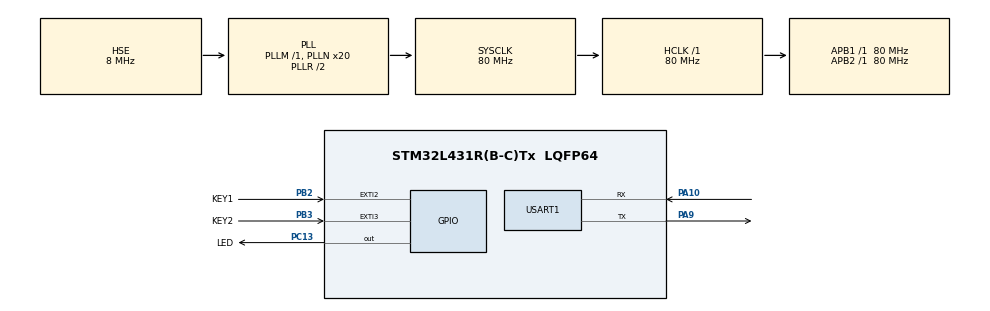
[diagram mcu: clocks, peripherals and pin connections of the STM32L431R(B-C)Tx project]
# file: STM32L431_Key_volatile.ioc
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Mcu.Family=STM32L4
Mcu.Name=STM32L431R(B-C)Tx
Mcu.Package=LQFP64
NVIC.EXTI2_IRQn=true\:1\:0\:true\:false\:true\:true\:true
NVIC.EXTI3_IRQn=true\:2\:0\:true\:false\:true\:true\:true
NVIC.PriorityGroup=NVIC_PRIORITYGROUP_2
NVIC.USART1_IRQn=true\:0\:0\:false\:false\:true\:true\:true
PA10.Mode=Asynchronous
PA10.Signal=USART1_RX
PA9.Mode=Asynchronous
PA9.Signal=USART1_TX
PB2.GPIO_Label=KEY1
PB2.GPIO_PuPd=GPIO_PULLUP
PB2.Signal=GPXTI2
PB3\ (JTDO-TRACESWO).GPIO_Label=KEY2
PB3\ (JTDO-TRACESWO).GPIO_PuPd=GPIO_PULLUP
PB3\ (JTDO-TRACESWO).Signal=GPXTI3
PC13.GPIO_Label=LED
PC13.Signal=GPIO_Output
PC14-OSC32_IN\ (PC14).Mode=LSE-External-Oscillator
PC14-OSC32_IN\ (PC14).Signal=RCC_OSC32_IN
PC15-OSC32_OUT\ (PC15).Mode=LSE-External-Oscillator
PC15-OSC32_OUT\ (PC15).Signal=RCC_OSC32_OUT
PH0-OSC_IN\ (PH0).Mode=HSE-External-Oscillator
PH0-OSC_IN\ (PH0).Signal=RCC_OSC_IN
PH1-OSC_OUT\ (PH1).Mode=HSE-External-Oscillator
PH1-OSC_OUT\ (PH1).Signal=RCC_OSC_OUT
ProjectManager.HeapSize=0x200
ProjectManager.StackSize=0x400
ProjectManager.TargetToolchain=MDK-ARM V5
RCC.ADCFreq_Value=32000000
RCC.AHBFreq_Value=80000000
RCC.APB1Freq_Value=80000000
RCC.APB1TimFreq_Value=80000000
RCC.APB2Freq_Value=80000000
RCC.APB2TimFreq_Value=80000000
RCC.CortexFreq_Value=80000000
RCC.HCLKFreq_Value=80000000
RCC.HSE_VALUE=8000000
RCC.HSI48_VALUE=48000000
RCC.HSI_VALUE=16000000
RCC.MSI_VALUE=4000000
RCC.PLLN=20
RCC.PLLSourceVirtual=RCC_PLLSOURCE_HSE
RCC.SYSCLKFreq_VALUE=80000000
RCC.SYSCLKSource=RCC_SYSCLKSOURCE_PLLCLK
RCC.VCOOutputFreq_Value=160000000
USART1.VirtualMode-Asynchronous=VM_ASYNC
board=custom

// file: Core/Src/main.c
/* USER CODE BEGIN Header */
/**
  ******************************************************************************
  * @file           : main.c
  * @brief          : Main program body
  ******************************************************************************
  * @attention
  *
  * <h2><center>&copy; Copyright (c) 2021 STMicroelectronics.
  * All rights reserved.</center></h2>
  *
  * This software component is licensed by ST under BSD 3-Clause license,
  * the "License"; You may not use this file except in compliance with the
  * License. You may obtain a copy of the License at:
  *                        opensource.org/licenses/BSD-3-Clause
  *
  ******************************************************************************
  */
/* USER CODE END Header */
#include "main.h"
#include "usart.h"
#include "gpio.h"

/* USER CODE BEGIN PTD */
char  Value1;
char volatile Value2;
uint8_t hello[] = "A uart is ready....\n";
uint8_t recv_buf[13] = {0};
/* USER CODE END PTD */

void SystemClock_Config(void);

/* USER CODE BEGIN 0 */
extern void v_IntOccured(void);
/* USER CODE END 0 */

int main(void)
{
  /* USER CODE BEGIN 1 */
	char flag;
  /* USER CODE END 1 */

  /* MCU Configuration--------------------------------------------------------*/

  /* Reset of all peripherals, Initializes the Flash interface and the Systick. */
  HAL_Init();

  /* Configure the system clock */
  SystemClock_Config();

  /* Initialize all configured peripherals */
  MX_GPIO_Init();
  MX_USART1_UART_Init();
  /* USER CODE BEGIN 2 */
	//使能串口中断接收
  HAL_UART_Receive_IT(&huart1, (uint8_t*)recv_buf, 13);
  //发送提示信息
  HAL_UART_Transmit_IT(&huart1, (uint8_t*)hello, sizeof(hello));
  /* USER CODE END 2 */

  /* Infinite loop */
  while (1) {

    /* USER CODE BEGIN 3 */
		flag = Value1;
		if (Value1 != flag) {
			v_IntOccured();
		}
		flag = Value2;
		if (Value2 != flag) {
			HAL_UART_Transmit_IT(&huart1, (uint8_t*)hello, sizeof(hello));
			//v_IntOccured();
		}
	}
  /* USER CODE END 3 */
}

void SystemClock_Config(void)
{
  RCC_OscInitTypeDef RCC_OscInitStruct = {0};
  RCC_ClkInitTypeDef RCC_ClkInitStruct = {0};
  RCC_PeriphCLKInitTypeDef PeriphClkInit = {0};

  /** Initializes the RCC Oscillators according to the specified parameters
  * in the RCC_OscInitTypeDef structure.
  */
  RCC_OscInitStruct.OscillatorType = RCC_OSCILLATORTYPE_HSE;
  RCC_OscInitStruct.HSEState = RCC_HSE_ON;
  RCC_OscInitStruct.PLL.PLLState = RCC_PLL_ON;
  RCC_OscInitStruct.PLL.PLLSource = RCC_PLLSOURCE_HSE;
  RCC_OscInitStruct.PLL.PLLM = 1;
  RCC_OscInitStruct.PLL.PLLN = 20;
  RCC_OscInitStruct.PLL.PLLP = RCC_PLLP_DIV7;
  RCC_OscInitStruct.PLL.PLLQ = RCC_PLLQ_DIV2;
  RCC_OscInitStruct.PLL.PLLR = RCC_PLLR_DIV2;
  if (HAL_RCC_OscConfig(&RCC_OscInitStruct) != HAL_OK)
  {
    Error_Handler();
  }
  /** Initializes the CPU, AHB and APB buses clocks
  */
  RCC_ClkInitStruct.ClockType = RCC_CLOCKTYPE_HCLK|RCC_CLOCKTYPE_SYSCLK
                              |RCC_CLOCKTYPE_PCLK1|RCC_CLOCKTYPE_PCLK2;
  RCC_ClkInitStruct.SYSCLKSource = RCC_SYSCLKSOURCE_PLLCLK;
  RCC_ClkInitStruct.AHBCLKDivider = RCC_SYSCLK_DIV1;
  RCC_ClkInitStruct.APB1CLKDivider = RCC_HCLK_DIV1;
  RCC_ClkInitStruct.APB2CLKDivider = RCC_HCLK_DIV1;

  if (HAL_RCC_ClockConfig(&RCC_ClkInitStruct, FLASH_LATENCY_4) != HAL_OK)
  {
    Error_Handler();
  }
  PeriphClkInit.PeriphClockSelection = RCC_PERIPHCLK_USART1;
  PeriphClkInit.Usart1ClockSelection = RCC_USART1CLKSOURCE_PCLK2;
  if (HAL_RCCEx_PeriphCLKConfig(&PeriphClkInit) != HAL_OK)
  {
    Error_Handler();
  }
  /** Configure the main internal regulator output voltage
  */
  if (HAL_PWREx_ControlVoltageScaling(PWR_REGULATOR_VOLTAGE_SCALE1) != HAL_OK)
  {
    Error_Handler();
  }
}

/* USER CODE BEGIN 4 */
/**
 * @brief	EXIT中断回调函数
 * @param GPIO_Pin —— 触发中断的引脚
 * @retval	none
*/
void HAL_GPIO_EXTI_Callback(uint16_t GPIO_Pin)
{
	/* 判断哪个引脚触发了中断 */
	switch(GPIO_Pin)
	{
		case GPIO_PIN_2:
			/* 处理GPIO2发生的中断 */
			//点亮LED
			HAL_GPIO_WritePin(LED_GPIO_Port,LED_Pin,GPIO_PIN_SET);
			Value1++;
			Value2++;
			break;
		case GPIO_PIN_3:
			/* 处理GPIO3发生的中断 */
			//熄灭LED
			HAL_GPIO_WritePin(LED_GPIO_Port,LED_Pin,GPIO_PIN_RESET);
			break;
		default:
			break;
	}
}
//***************************************************************
// 函数： v_IntOccured()
// 版本：
// 参数：
// 用途： 死循环
//***************************************************************
void v_IntOccured()
{
	while(1) {
		HAL_UART_Transmit_IT(&huart1, (uint8_t*)hello, sizeof(hello));
	}
}
/* 中断回调函数 */
void HAL_UART_RxCpltCallback(UART_HandleTypeDef *huart)
{
	/* 判断是哪个串口触发的中断 */
	if(huart ->Instance == USART1)
	{
		//将接收到的数据发送
		HAL_UART_Transmit_IT(huart, (uint8_t*)recv_buf, 13);
		//重新使能串口接收中断
		HAL_UART_Receive_IT(huart, (uint8_t*)recv_buf, 13);
	}
}

/* USER CODE END 4 */

void Error_Handler(void)
{
  __disable_irq();
  while (1)
  {
  }
}

/************************ (C) COPYRIGHT STMicroelectronics *****END OF FILE****/
